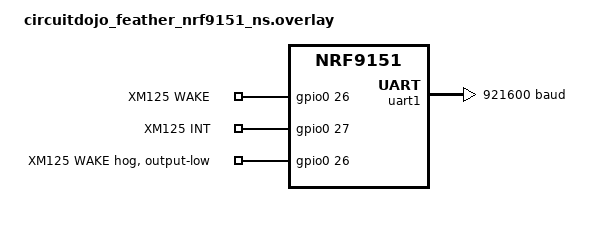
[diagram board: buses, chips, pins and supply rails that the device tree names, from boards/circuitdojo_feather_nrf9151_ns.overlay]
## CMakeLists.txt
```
cmake_minimum_required(VERSION 3.20.0)
find_package(Zephyr REQUIRED HINTS $ENV{ZEPHYR_BASE})
project(webhook_test)

# Generate hex files from pem files
set(gen_dir ${CMAKE_CURRENT_BINARY_DIR}/certs)
zephyr_include_directories(${gen_dir})

##DigiCert CA
# generate_inc_file_for_target(
#     app
#     cert/DigiCertGlobalG3.pem
#     ${gen_dir}/DigiCertGlobalG3.pem.inc
# )

# #Universal Global Root CA (too large for modem flash ~220KB)
# generate_inc_file_for_target(
#     app
#     cert/cacert.pem
#     ${gen_dir}/cacert.pem.inc
# )

# #Google GTS Root R1 (44KB)
# generate_inc_file_for_target(
#     app
#     cert/google_roots.pem
#     ${gen_dir}/google_roots.pem.inc
# )

#Leaf CA (5KB maybe small enough)
generate_inc_file_for_target(
    app
    cert/google_gts.pem
    ${gen_dir}/google_gts.pem.inc
)

target_sources(app PRIVATE
    src/main.c
    src/uart.c
    src/cellular.c
)
```

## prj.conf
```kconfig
# General
CONFIG_HEAP_MEM_POOL_SIZE=4096
CONFIG_MAIN_STACK_SIZE=4096
# Watchdog
CONFIG_WATCHDOG=y
CONFIG_WDT_NRFX=y
# Logging
CONFIG_LOG=y
# Network
CONFIG_NETWORKING=y
CONFIG_NET_SOCKETS=y
CONFIG_NET_SOCKETS_OFFLOAD=y
CONFIG_POSIX_API=y
CONFIG_NET_IPV4=y
CONFIG_NET_IPV6=y
CONFIG_NET_CONNECTION_MANAGER=y
CONFIG_NET_CONNECTION_MANAGER_MONITOR_STACK_SIZE=4600
# Modem
CONFIG_NRF_MODEM_LIB=y
CONFIG_NRF_MODEM_LIB_NET_IF=y
CONFIG_MODEM_KEY_MGMT=y
CONFIG_LTE_LINK_CONTROL=y
# DNS
CONFIG_DNS_RESOLVER=y
# Hostname
# CONFIG_HTTPS_HOSTNAME="webhook.site"

#NCS version issue
CONFIG_LTE_LC_PSM_MODULE=y
CONFIG_LTE_PSM_REQ=n
CONFIG_LTE_LC_EDRX_MODULE=y

# Floating point support for CBPRINTF, needed for logging the radar data
CONFIG_FPU=y
CONFIG_FPU_SHARING=y
CONFIG_CBPRINTF_FP_SUPPORT=y
#Debugging LTE connection failures, NCS version issue suspected
# CONFIG_NET_CONNECTION_MANAGER=y
# CONFIG_NET_CONNECTION_MANAGER_MONITOR_STACK_SIZE=4600

# Prevent reset cycle lockout
# CONFIG_LTE_LC_FUNC_MODE_MODULE=y

CONFIG_SERIAL=y
# CONFIG_UART_ASYNC_API=y
CONFIG_UART_INTERRUPT_DRIVEN=y
CONFIG_SNTP=y

# eDRX settings timer table index for LTE-M, 20.48s cycle — should be shorter than UPDATE_RATE_MS
# CONFIG_LTE_LC_EDRX_REQ_VALUE_LTE_M="2"

#Solar Panel/Battery Support
CONFIG_NPM13XX_CHARGER=y
CONFIG_SENSOR=y

#Zephyr power management - suspend peripherals for deep sleep
CONFIG_PM=y
CONFIG_PM_DEVICE=y
CONFIG_PM_DEVICE_RUNTIME=y
```

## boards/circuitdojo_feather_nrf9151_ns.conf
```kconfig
#
# Copyright (c) 2024 Nordic Semiconductor ASA
#
# SPDX-License-Identifier: LicenseRef-Nordic-5-Clause
#

# Heap and stacks
CONFIG_HEAP_MEM_POOL_SIZE=4096
CONFIG_MAIN_STACK_SIZE=4096
CONFIG_SYSTEM_WORKQUEUE_STACK_SIZE=4096

# LED control
CONFIG_DK_LIBRARY=n

# Disable Duplicate Address Detection (DAD)
# due to not being properly implemented for offloaded interfaces.
CONFIG_NET_IPV6_NBR_CACHE=n
CONFIG_NET_IPV6_MLD=n

# Connection Manager and Connectivity layer
CONFIG_NRF_MODEM_LIB_NET_IF=y

# AT Host
CONFIG_UART_INTERRUPT_DRIVEN=y
CONFIG_AT_HOST_LIBRARY=n

# Modem key management
CONFIG_MODEM_KEY_MGMT=y

# Disable modem trace on uart1 so we can use it for XM125
CONFIG_NRF_MODEM_LIB_TRACE=n
# Disable UART console for 0.5mA power savings
CONFIG_UART_CONSOLE=n
```

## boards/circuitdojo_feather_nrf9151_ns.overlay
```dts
&uart1 {
    status = "okay";
    current-speed = <921600>;
};

/ {
    aliases {
        wake-pin = &wake_pin;
        int-pin = &int_pin;
    };

    gpio_pins {
        compatible = "gpio-keys";

        wake_pin: wake_pin {
            gpios = <&gpio0 26 GPIO_ACTIVE_HIGH>;
            label = "XM125 WAKE";
        };

        int_pin: int_pin {
            gpios = <&gpio0 27 GPIO_ACTIVE_HIGH>;
            label = "XM125 INT";
        };
    };
};

&gpio0 {
    ngpios = <32>;
    wake-hog {
        gpio-hog;
        gpios = <26 GPIO_ACTIVE_HIGH>;
        output-low;
        line-name = "XM125 WAKE";
    };
};
```

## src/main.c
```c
#include "cellular.h"
#include "config.h"
#include "uart.h"
#include <modem/lte_lc.h>
#include <modem/nrf_modem_lib.h>
#include <zephyr/drivers/gpio.h>
#include <zephyr/kernel.h>
#include <zephyr/logging/log.h>
#include <zephyr/drivers/watchdog.h>
 #include <zephyr/pm/device.h>

#define WDT_NODE DT_ALIAS(watchdog0)
#define WDT_TIMEOUT_MS 300000U  // 5 minutes — longer than one full cycle
LOG_MODULE_REGISTER(main, LOG_LEVEL_INF);

static const struct device *wdt;
static int wdt_channel_id;

static int watchdog_init(void)
{
    wdt = DEVICE_DT_GET(WDT_NODE);
    if (!device_is_ready(wdt)) {
        LOG_ERR("Watchdog device not ready");
        return -ENODEV;
    }

    struct wdt_timeout_cfg wdt_config = {
        .flags = WDT_FLAG_RESET_SOC,
        .window.min = 0,
        .window.max = WDT_TIMEOUT_MS,
    };

    wdt_channel_id = wdt_install_timeout(wdt, &wdt_config);
    if (wdt_channel_id < 0) {
        LOG_ERR("Watchdog install timeout failed: %d", wdt_channel_id);
        return wdt_channel_id;
    }

    int err = wdt_setup(wdt, WDT_OPT_PAUSE_HALTED_BY_DBG);
    if (err) {
        LOG_ERR("Watchdog setup failed: %d", err);
        return err;
    }

    LOG_INF("Watchdog initialized (timeout: %d ms)", WDT_TIMEOUT_MS);
    return 0;
}



// ---------------------------------------------------------------------------
// WAKE GPIO — nRF9151 drives this pin to wake/sleep XM125
// Defined in devicetree overlay as wake_pin alias
// ---------------------------------------------------------------------------

static const struct gpio_dt_spec wake_pin = GPIO_DT_SPEC_GET(WAKE_PIN_NODE, gpios);

static int wake_pin_init(void)
{
    if (!gpio_is_ready_dt(&wake_pin)) {
        LOG_ERR("WAKE GPIO device not ready");
        return -ENODEV;
    }
    // Start deasserted — XM125 stays in hibernate until we're ready
    return gpio_pin_configure_dt(&wake_pin, GPIO_OUTPUT_INACTIVE);
}

static void wake_xm125(void)
{
    gpio_pin_set_dt(&wake_pin, 1);
    LOG_DBG("WAKE asserted");
}

static void sleep_xm125(void)
{
    gpio_pin_set_dt(&wake_pin, 0);
    LOG_DBG("WAKE deasserted — XM125 hibernating");
}

// ---------------------------------------------------------------------------
// Frame buffer
// ---------------------------------------------------------------------------

static radar_buf_t radar_buf;

// ---------------------------------------------------------------------------
// Main
// ---------------------------------------------------------------------------

int main(void)
{

    int err;

    LOG_INF("Flood sensor starting");

    // Graceful modem power-off — clears any prior reset loop state
    err = nrf_modem_lib_init();
    if (err) {
        LOG_ERR("nrf_modem_lib_init failed: %d", err);
        return err;
    }
    lte_lc_func_mode_set(LTE_LC_FUNC_MODE_POWER_OFF);
    k_sleep(K_MSEC(500));
    nrf_modem_lib_shutdown();
    k_sleep(K_MSEC(500));

    // Initialize WAKE GPIO — XM125 stays asleep until first cycle
    err = wake_pin_init();
    if (err) {
        LOG_ERR("wake_pin_init failed: %d", err);
        return err;
    }

    err = watchdog_init();
    if (err) {
        LOG_WRN("Watchdog init failed: %d — continuing without watchdog", err);
    }

    // Initialize UART RX ring buffer and INT GPIO interrupt
    err = uart_init();
    if (err) {
        LOG_ERR("uart_init failed: %d", err);
        return err;
    }

    // Initialize modem and provision TLS certificate
    err = cellular_init();
    if (err) {
        LOG_ERR("cellular_init failed: %d", err);
        return err;
    }

    // Connect to LTE-M and configure eDRX
    err = cellular_connect();
    if (err) {
        LOG_ERR("cellular_connect failed: %d", err);
        return err;
    }

    // Sync time via SNTP — must happen after LTE connect, retry 3 times
    for (int i = 0; i < 3; i++) {
        err = cellular_sntp_sync();
        if (err == 0) {
            break;
        }
        LOG_WRN("SNTP attempt %d/3 failed (%d), retrying in 5s...", i + 1, err);
        if (i < 2) {
            k_sleep(K_SECONDS(5));
        }
    }
    if (err) {
        LOG_ERR("SNTP sync failed after 3 attempts — timestamps will be invalid");
    }

    LOG_INF("Boot complete — entering main loop (update rate: %d ms)",
            UPDATE_RATE_MS);


    // Suspend onboard peripherals we don't use — reduces idle current
    const struct device *lis2dh = DEVICE_DT_GET(DT_NODELABEL(lis2dh));
    const struct device *sts4x  = DEVICE_DT_GET(DT_NODELABEL(sts4x));

    if (device_is_ready(lis2dh)) {
        pm_device_action_run(lis2dh, PM_DEVICE_ACTION_SUSPEND);
    }
    if (device_is_ready(sts4x)) {
        pm_device_action_run(sts4x, PM_DEVICE_ACTION_SUSPEND);
    }

    // ---------------------------------------------------------------------------
    // Main loop — nRF9151 paces the system
    // ---------------------------------------------------------------------------
    
    while (true) {

        // Kick watchdog — must happen at least every WDT_TIMEOUT_MS
        wdt_feed(wdt, wdt_channel_id);

        int64_t cycle_start_ms = k_uptime_get();

        // 1. Wake XM125
        wake_xm125();

        // 2. Wait for XM125 to assert INT (all frames in UART buffer)
        //    UART ring buffer fills passively while we wait
        err = uart_read_frames(&radar_buf);
        if (err) {
            LOG_ERR("uart_read_frames failed: %d", err);
            // Deassert WAKE so XM125 can hibernate even on error
            sleep_xm125();
            uart_buf_reset(&radar_buf);
            goto next_cycle;
        }

        // 3. Deassert WAKE — XM125 hibernates while we do LTE POST
        sleep_xm125();

        // 4. POST frames over LTE
        LOG_INF("Posting %d frames", radar_buf.count);
        err = cellular_post_frames(&radar_buf);
        if (err) {
            LOG_ERR("cellular_post_frames failed: %d", err);
        } else {
            LOG_INF("POST complete");
        }

        uart_buf_reset(&radar_buf);

next_cycle:
        // 5. Sleep for remainder of UPDATE_RATE_MS
        //    eDRX keeps modem registered during this sleep
        int64_t elapsed_ms = k_uptime_get() - cycle_start_ms;
        int64_t sleep_ms   = (int64_t)UPDATE_RATE_MS - elapsed_ms;

        if (sleep_ms > 0) {
            LOG_DBG("Sleeping %lld ms until next cycle", sleep_ms);
            k_sleep(K_MSEC(sleep_ms));
        } else {
            LOG_WRN("Cycle overran UPDATE_RATE_MS by %lld ms", -sleep_ms);
        }
    }

    return 0;
}
```

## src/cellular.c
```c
#include "cellular.h"
#include "config.h"
#include <modem/lte_lc.h>
#include <modem/modem_key_mgmt.h>
#include <modem/nrf_modem_lib.h>
#include <zephyr/net/sntp.h>
#include <nrf_modem_at.h>
#include <stdio.h>
#include <string.h>
#include <zephyr/kernel.h>
#include <zephyr/logging/log.h>
#include <zephyr/net/socket.h>
#include <zephyr/net/tls_credentials.h>
#include <zephyr/drivers/sensor.h>
#include <zephyr/drivers/sensor/npm13xx_charger.h>


LOG_MODULE_REGISTER(cellular, LOG_LEVEL_INF);

// ---------------------------------------------------------------------------
// Battery Charging
// ---------------------------------------------------------------------------

#define PMIC_NODE DT_NODELABEL(npm1300_charger)
static const struct device *charger = DEVICE_DT_GET(PMIC_NODE);

// Returns battery voltage in millivolts, or -1 on error
static int read_battery_mv(void)
{
    if (!device_is_ready(charger)) {
        LOG_WRN("PMIC charger not ready");
        return -1;
    }

    struct sensor_value voltage;
    if (sensor_sample_fetch(charger) < 0) {
        LOG_WRN("Failed to fetch PMIC sample");
        return -1;
    }

    if (sensor_channel_get(charger, SENSOR_CHAN_GAUGE_VOLTAGE, &voltage) < 0) {
        LOG_WRN("Failed to get battery voltage");
        return -1;
    }

    return (voltage.val1 * 1000) + (voltage.val2 / 1000);
}

// ---------------------------------------------------------------------------
// TLS certificate
// ---------------------------------------------------------------------------

static const char cert[] = {
#include "google_gts.pem.inc"
    IF_ENABLED(CONFIG_TLS_CREDENTIALS, (0x00))
};

// ---------------------------------------------------------------------------
// Static buffers — not stack allocated
// ---------------------------------------------------------------------------

static char recv_buf[RECV_BUF_SIZE];
static char body[POST_BODY_SIZE];
static char header[POST_HEADER_SIZE];

// ---------------------------------------------------------------------------
// LTE connection
// ---------------------------------------------------------------------------

static K_SEM_DEFINE(lte_connected_sem, 0, 1);

static void lte_event_handler(const struct lte_lc_evt *const evt)
{
    switch (evt->type) {
    case LTE_LC_EVT_NW_REG_STATUS:
        if (evt->nw_reg_status == LTE_LC_NW_REG_REGISTERED_HOME ||
            evt->nw_reg_status == LTE_LC_NW_REG_REGISTERED_ROAMING) {
            LOG_INF("LTE connected");
            k_sem_give(&lte_connected_sem);
        }
        break;

    case LTE_LC_EVT_EDRX_UPDATE:
        LOG_INF("eDRX active: cycle=%.2f s, PTW=%.2f s",
                (double)evt->edrx_cfg.edrx,
                (double)evt->edrx_cfg.ptw);
        break;

    case LTE_LC_EVT_PSM_UPDATE:
        // PSM not used at 1-minute update rate — log if granted anyway
        LOG_DBG("PSM update: TAU=%d active=%d",
                evt->psm_cfg.tau, evt->psm_cfg.active_time);
        break;

    default:
        break;
    }
}

// ---------------------------------------------------------------------------
// SNTP time anchor
// ---------------------------------------------------------------------------

static int64_t sntp_unix_time_ms  = -1; // Unix time at sync point
static int64_t uptime_at_sync_ms  = 0;  // k_uptime_get() at sync point

int cellular_sntp_sync(void)
{
    struct sntp_time sntp_time;

    LOG_INF("Syncing time via SNTP (%s)", SNTP_SERVER);

    k_sleep(K_SECONDS(3));

    int err = sntp_simple(SNTP_SERVER, SNTP_TIMEOUT_MS, &sntp_time);
    if (err != 0) {
        LOG_ERR("SNTP sync failed: %d", err);
        return err;
    }

    sntp_unix_time_ms = (int64_t)sntp_time.seconds * 1000LL;
    uptime_at_sync_ms = k_uptime_get();

    LOG_INF("SNTP sync OK: Unix time %lld ms", sntp_unix_time_ms);
    return 0;
}

int64_t cellular_get_unix_time_ms(void)
{
    if (sntp_unix_time_ms < 0) {
        LOG_WRN("SNTP not synced yet");
        return -1;
    }
    return sntp_unix_time_ms + (k_uptime_get() - uptime_at_sync_ms);
}

// ---------------------------------------------------------------------------
// Initialization — modem library + TLS certificate provisioning
// ---------------------------------------------------------------------------

int cellular_init(void)
{
    int err;
    bool exists;

    nrf_modem_lib_init();

    LOG_INF("Provisioning TLS certificate");

    err = modem_key_mgmt_exists(TLS_SEC_TAG, MODEM_KEY_MGMT_CRED_TYPE_CA_CHAIN,
                                &exists);
    if (err) {
        LOG_ERR("modem_key_mgmt_exists failed: %d", err);
        return err;
    }

    if (exists) {
        int mismatch = modem_key_mgmt_cmp(TLS_SEC_TAG,
                                          MODEM_KEY_MGMT_CRED_TYPE_CA_CHAIN,
                                          cert, sizeof(cert));
        if (!mismatch) {
            LOG_INF("Certificate match — skipping write");
            return 0;
        }
        LOG_INF("Certificate mismatch — updating");
        modem_key_mgmt_delete(TLS_SEC_TAG, MODEM_KEY_MGMT_CRED_TYPE_CA_CHAIN);
    }

    err = modem_key_mgmt_write(TLS_SEC_TAG, MODEM_KEY_MGMT_CRED_TYPE_CA_CHAIN,
                               cert, sizeof(cert));
    if (err) {
        LOG_ERR("Certificate write failed: %d", err);
        return err;
    }

    LOG_INF("Certificate provisioned");
    return 0;
}

// ---------------------------------------------------------------------------
// Connect — LTE-M with eDRX, fallback to light sleep
// ---------------------------------------------------------------------------

int cellular_connect(void)
{
    int err;

    LOG_INF("Connecting to LTE-M");

    // // Hologram SIM APN
    // nrf_modem_at_printf("AT+CGDCONT=1,\"IP\",\"hologram\"");
    // nrf_modem_at_printf("AT+COPS=0,2");
    
    //Trying AT&T Sim Cards
    nrf_modem_at_printf("AT+CGDCONT=1,\"IP\",\"broadband\"");
    nrf_modem_at_printf("AT+COPS=0");

    // Force T-Mobile if auto-select fails:
    // nrf_modem_at_printf("AT+COPS=1,2,\"310260\",7");

    k_sleep(K_SECONDS(5));

    lte_lc_register_handler(lte_event_handler);

    // Request eDRX — keeps modem registered, low wake latency for 1-min cycles
    // Falls back gracefully if carrier doesn't support it

// Request eDRX
    err = lte_lc_edrx_req(true);
    if (err) {
        LOG_WRN("eDRX request failed (%d) — falling back to light sleep", err);
    } else {
        // Request specific cycle: "0010" = 20.48s for LTE-M
        int at_err = nrf_modem_at_printf("AT+CEDRXS=2,4,\"0010\"");
        if (at_err) {
            LOG_WRN("eDRX cycle request failed (%d) — network will use default", at_err);
        } else {
            LOG_INF("eDRX 20.48s cycle requested");
        }
    }
    // PSM not requested — re-registration latency (~30-60s) would consume
    // most of the 1-minute update window. Re-enable if update rate > 5 min.
    // err = lte_lc_psm_req(true);

    err = lte_lc_connect_async(lte_event_handler);
    if (err) {
        LOG_ERR("lte_lc_connect_async failed: %d", err);
        return err;
    }

    err = k_sem_take(&lte_connected_sem, K_MSEC(LTE_CONNECT_TIMEOUT_MS));
    if (err) {
        LOG_ERR("LTE connection timeout after %d ms", LTE_CONNECT_TIMEOUT_MS);
        return -ETIMEDOUT;
    }

    return 0;
}

// ---------------------------------------------------------------------------
// TLS socket setup
// ---------------------------------------------------------------------------

static int tls_setup(int fd)
{
    int err;
    int verify = 2;
    const sec_tag_t tls_sec_tag[] = {TLS_SEC_TAG};

    err = setsockopt(fd, SOL_TLS, TLS_PEER_VERIFY, &verify, sizeof(verify));
    if (err) return err;

    err = setsockopt(fd, SOL_TLS, TLS_SEC_TAG_LIST, tls_sec_tag, sizeof(tls_sec_tag));
    if (err) return err;

    err = setsockopt(fd, SOL_TLS, TLS_HOSTNAME, WEBHOOK_HOST, sizeof(WEBHOOK_HOST) - 1);
    if (err) return err;

    // Enable TLS session caching for resumption on subsequent connections
    int session_cache = 1;
    err = setsockopt(fd, SOL_TLS, TLS_SESSION_CACHE, &session_cache, sizeof(session_cache));
    if (err) {
        LOG_WRN("TLS session cache enable failed: %d", err);
    }

    // Cap recv wait at 30 seconds — prevents indefinite hang if server is slow
    struct timeval timeout = {
        .tv_sec = 30,
        .tv_usec = 0
    };
    setsockopt(fd, SOL_SOCKET, SO_RCVTIMEO, &timeout, sizeof(timeout));

    return 0;
}

// ---------------------------------------------------------------------------
// POST frames
//
// JSON format (flat, one object per frame):
// {
//   "frames": [
//     {"datetime":1747123456789,"frame":1,"num_peaks":2,
//      "d1":1.234567,"s1":45.20,"d2":0.987654,"s2":38.10},
//     {"datetime":1747123457000,"frame":2,"num_peaks":0},
//     ...
//   ]
// }
//
// Google Sheet columns:
//   Timestamp | Datetime | Frame | Num Peaks |
//   Distance 1 | Strength 1 | Distance 2 | Strength 2 | Distance 3 | Strength 3
// ---------------------------------------------------------------------------

int cellular_post_frames(const radar_buf_t *buf)
{
    int err, fd, bytes;
    size_t off;
    struct addrinfo *res;
    struct addrinfo hints = {
        .ai_flags    = AI_NUMERICSERV,
        .ai_socktype = SOCK_STREAM,
    };
    char peer_addr[INET6_ADDRSTRLEN];
    int body_len = 0;
    int battery_mv = read_battery_mv();

    // Build JSON body

    body_len += snprintf(body, POST_BODY_SIZE,
    "{\"battery_mv\":%d,\"frames\":[", battery_mv);

    for (int i = 0; i < buf->count; i++) {
        const radar_frame_t *f = &buf->frames[i];

        body_len += snprintf(body + body_len, POST_BODY_SIZE - body_len,
                             "%s{\"datetime\":%lld,\"frame\":%d,\"num_peaks\":%d",
                             i > 0 ? "," : "",
                             f->timestamp_ms,
                             i + 1,
                             f->num_peaks);

        // Add peak fields — only include peaks that exist
        for (int p = 0; p < f->num_peaks && p < MAX_PEAKS_PER_FRAME; p++) {
            body_len += snprintf(body + body_len, POST_BODY_SIZE - body_len,
                                 ",\"d%d\":%.6f,\"s%d\":%.2f",
                                 p + 1, (double)f->peaks[p].distance_m,
                                 p + 1, (double)f->peaks[p].strength_db);
        }

        body_len += snprintf(body + body_len, POST_BODY_SIZE - body_len, "}");
    }

    body_len += snprintf(body + body_len, POST_BODY_SIZE - body_len, "]}");

    // Build HTTP header
    snprintf(header, POST_HEADER_SIZE,
             "POST /" WEBHOOK_UUID " HTTP/1.1\r\n"
             "Host: " WEBHOOK_HOST "\r\n"
             "Content-Type: application/json\r\n"
             "Content-Length: %d\r\n"
             "Connection: close\r\n\r\n",
             body_len);

    LOG_INF("Resolving %s", WEBHOOK_HOST);
    err = getaddrinfo(WEBHOOK_HOST, HTTPS_PORT, &hints, &res);
    if (err) {
        LOG_ERR("getaddrinfo failed: %d", err);
        return -EIO;
    }

    inet_ntop(res->ai_family,
              &((struct sockaddr_in *)(res->ai_addr))->sin_addr,
              peer_addr, INET6_ADDRSTRLEN);
    LOG_INF("Resolved %s", peer_addr);

    fd = socket(res->ai_family, SOCK_STREAM, IPPROTO_TLS_1_2);
    if (fd < 0) {
        LOG_ERR("socket() failed");
        freeaddrinfo(res);
        return -EIO;
    }

    err = tls_setup(fd);
    if (err) {
        LOG_ERR("tls_setup failed: %d", err);
        goto cleanup;
    }

    err = connect(fd, res->ai_addr, res->ai_addrlen);
    if (err) {
        LOG_ERR("connect() failed: %d", errno);
        goto cleanup;
    }

    // Check if TLS session was resumed or full handshake was performed
    int handshake_status = 0;
    socklen_t status_len = sizeof(handshake_status);
    getsockopt(fd, SOL_TLS, TLS_SESSION_CACHE, &handshake_status, &status_len);
    if (handshake_status == 1) {
        LOG_INF("TLS session resumed");
    } else {
        LOG_INF("TLS full handshake");
    }

    // Send header
    off = 0;
    size_t hlen = strlen(header);
    do {
        bytes = send(fd, header + off, hlen - off, 0);
        if (bytes < 0) { err = -EIO; goto cleanup; }
        off += bytes;
    } while (off < hlen);

    // Send body
    off = 0;
    do {
        bytes = send(fd, body + off, body_len - off, 0);
        if (bytes < 0) { err = -EIO; goto cleanup; }
        off += bytes;
    } while ((int)off < body_len);

    LOG_INF("Sent %d bytes total", (int)(hlen + body_len));

    // Receive response
    off = 0;
    do {
        bytes = recv(fd, recv_buf + off, RECV_BUF_SIZE - off - 1, 0);
        if (bytes < 0) { err = -EIO; goto cleanup; }
        off += bytes;
    } while (bytes != 0);

    recv_buf[off] = '\0';
    LOG_INF("Response: %.100s", recv_buf);
    err = 0;

cleanup:
    freeaddrinfo(res);
    close(fd);
    return err;
}
```

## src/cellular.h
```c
// #ifndef CELLULAR_H
// #define CELLULAR_H

// #include "radar.h"

// /* Initialize LTE and provision TLS certificate */
// int cellular_init(void);

// /* Connect to LTE-M network */
// int cellular_connect(void);

// /* Disconnect and power down modem */
// int cellular_disconnect(void);

// /* POST all frames in buffer to webhook */
// int cellular_post_frames(const radar_buf_t *buf);

// #endif /* CELLULAR_H */
// ^^^^^^^^^^^ OLD WORKING VERSION ^^^^^^^^^^^

#ifndef CELLULAR_H
#define CELLULAR_H

#include "uart.h"
#include <stdint.h>

// ---------------------------------------------------------------------------
// Init
// ---------------------------------------------------------------------------

// Initialize modem library and provision TLS certificate
// Must be called once at boot before cellular_connect()
int cellular_init(void);

// ---------------------------------------------------------------------------
// Connection
// ---------------------------------------------------------------------------

// Connect to LTE-M, configure eDRX (fallback to light sleep if unsupported)
// Blocks until connected or LTE_CONNECT_TIMEOUT_MS elapses
int cellular_connect(void);

// ---------------------------------------------------------------------------
// Time
// ---------------------------------------------------------------------------

// Sync time via SNTP — call once after cellular_connect() on every boot
// Stores Unix time anchor internally
int cellular_sntp_sync(void);

// Returns current Unix time in milliseconds, anchored to last SNTP sync
// Returns -1 if SNTP has not been synced yet
int64_t cellular_get_unix_time_ms(void);

// ---------------------------------------------------------------------------
// Data
// ---------------------------------------------------------------------------

// POST all frames in buf to Google Apps Script endpoint over HTTPS
int cellular_post_frames(const radar_buf_t *buf);

#endif /* CELLULAR_H */
```

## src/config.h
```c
#ifndef CONFIG_H
#define CONFIG_H

#include <zephyr/kernel.h>

// ---------------------------------------------------------------------------
// Timing
// ---------------------------------------------------------------------------

// How often the nRF9151 wakes the XM125 and collects a buffer of frames
// Default: 1 minute. Increase for lower power consumption.
#define UPDATE_RATE_MS          60000U

// ---------------------------------------------------------------------------
// Radar / UART
// ---------------------------------------------------------------------------

// Number of frames to collect per wake cycle before posting
// Must be a multiple of 7 (XM125 takes 7 measurements per wake)
#define FRAMES_PER_BUFFER       7U

// Maximum peaks reported per frame (matches Google Sheet fixed columns)
#define MAX_PEAKS_PER_FRAME     3U

// UART ring buffer size — must hold all frames before CPU wakes on INT
// Each frame is at most ~40 bytes ASCII (3 peaks worst case)
// 7 frames * 40 bytes = ~280 bytes — 512 gives comfortable margin
#define UART_RX_BUF_SIZE        512U

// UART timeout waiting for all frames after INT fires (ms)
#define UART_FRAME_TIMEOUT_MS   5000U

// ---------------------------------------------------------------------------
// GPIO pins
// ---------------------------------------------------------------------------

// WAKE pin — nRF9151 asserts high to wake XM125, deasserts after UART read
#define WAKE_PIN_NODE           DT_ALIAS(wake_pin)

// INT pin — XM125 asserts high when all frames are in UART buffer
#define INT_PIN_NODE            DT_ALIAS(int_pin)

// ---------------------------------------------------------------------------
// Cellular / POST
// ---------------------------------------------------------------------------

#define HTTPS_PORT              "443"
#define WEBHOOK_HOST            "script.google.com"
#define WEBHOOK_UUID            "macros/s/AKfycbwgBOoHvD2sKEsbWD8YyxhMu8Nycs5IzqO6mXfx4eeInN-su6hR5VLARMVwtdEtNbTTpg/exec"
#define TLS_SEC_TAG             42

// POST body buffer — static, power of 2
// Each frame ~130 bytes worst case flat JSON
// 4096 fits up to ~31 frames comfortably
#define POST_BODY_SIZE          4096U
#define POST_HEADER_SIZE        512U
#define RECV_BUF_SIZE           2048U


// LTE connection timeout (ms)
#define LTE_CONNECT_TIMEOUT_MS  180000U

// SNTP server
#define SNTP_SERVER             "time.cloudflare.com"
#define SNTP_TIMEOUT_MS         5000U
#define SNTP_RESYNC_INTERVAL_MS (24 * 60 * 60 * 1000U)  // 24 hours
// ---------------------------------------------------------------------------
// Compile-time guards
// ---------------------------------------------------------------------------

BUILD_ASSERT(FRAMES_PER_BUFFER % 7 == 0,
             "FRAMES_PER_BUFFER must be a multiple of 7");

BUILD_ASSERT(FRAMES_PER_BUFFER * 130 < POST_BODY_SIZE,
             "POST_BODY_SIZE too small for FRAMES_PER_BUFFER — increase POST_BODY_SIZE");

BUILD_ASSERT(FRAMES_PER_BUFFER * 40 < UART_RX_BUF_SIZE,
             "UART_RX_BUF_SIZE too small for FRAMES_PER_BUFFER — increase UART_RX_BUF_SIZE");

#endif /* CONFIG_H */
```

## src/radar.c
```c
// #include <zephyr/kernel.h>
// #include <zephyr/logging/log.h>
// #include "radar.h"

// LOG_MODULE_REGISTER(radar, LOG_LEVEL_INF);

// int radar_init(void)
// {
//     LOG_INF("Radar init (stub)");
//     return 0;
// }

// int radar_measure(radar_buf_t *buf)
// {
//     if (buf->count >= RADAR_FRAME_BUF_COUNT) {
//         return -ENOMEM;
//     }

//     radar_frame_t *f = &buf->frames[buf->write_idx];

//     /* Stub: generate dummy measurement */
//     f->timestamp_ms = k_uptime_get_32();
//     f->num_peaks = 2;
//     f->near_edge = false;
//     f->peaks[0].distance_m = 1.234f;
//     f->peaks[0].strength = 15.5f;
//     f->peaks[1].distance_m = 2.567f;
//     f->peaks[1].strength = 8.2f;
//     f->num_iq_points = 0; /* No IQ in stub */

//     buf->write_idx = (buf->write_idx + 1) % RADAR_FRAME_BUF_COUNT;
//     buf->count++;

//     LOG_INF("Stub measurement: dist=%.3f m",
//         (double)f->peaks[0].distance_m);
//     return 0;
// }

// bool radar_buf_full(const radar_buf_t *buf)
// {
//     return buf->count >= RADAR_FRAME_BUF_COUNT;
// }

// void radar_buf_reset(radar_buf_t *buf)
// {
//     buf->count = 0;
//     buf->write_idx = 0;
// }

// //OLD RADAR CODE, SWITCHING TO INTERRUPT-DRIVEN UART READING WITH PROPER JSON
// PARSING #include "radar.h" #include <stdlib.h> #include <string.h> #include
// <zephyr/drivers/uart.h> #include <zephyr/kernel.h> #include
// <zephyr/logging/log.h>

// LOG_MODULE_REGISTER(radar, LOG_LEVEL_INF);

// #define UART_DEVICE_NODE DT_NODELABEL(uart1)
// #define UART_BUF_SIZE 512
// #define UART_TIMEOUT_MS 2000

// static const struct device *uart_dev;
// static uint8_t uart_buf[UART_BUF_SIZE];
// static uint16_t uart_buf_pos;

// static int uart_read_line(char *out, size_t max_len, k_timeout_t timeout) {
//   int64_t deadline = k_uptime_get() + k_ticks_to_ms_floor64(timeout.ticks);
//   size_t pos = 0;

//   while (k_uptime_get() < deadline) {
//     uint8_t c;
//     if (uart_poll_in(uart_dev, &c) == 0) {
//       if (c == '\n') {
//         out[pos] = '\0';
//         return pos;
//       }
//       if (c != '\r' && pos < max_len - 1) {
//         out[pos++] = c;
//       }
//     } else {
//       k_sleep(K_MSEC(1));
//     }
//   }
//   return -ETIMEDOUT;
// }

// int radar_init(void) {
//   uart_dev = DEVICE_DT_GET(UART_DEVICE_NODE);
//   if (!device_is_ready(uart_dev)) {
//     LOG_ERR("UART device not ready");
//     return -ENODEV;
//   }

//   LOG_INF("Radar UART initialized at 921600 baud");
//   return 0;
// }

// /* Parse a JSON frame from XM125 output.
//  * Expected format (one line):
//  * {"n":2,"near_edge":0,"peaks":[{"d":1.2345,"s":15.20},...],"iq":[[...],...]}\n
//  */
// static int parse_frame(const char *line, radar_frame_t *frame) {
//   memset(frame, 0, sizeof(*frame));
//   frame->timestamp_ms = k_uptime_get_32();

//   /* Parse num_peaks */
//   const char *p = strstr(line, "\"n\":");
//   if (!p)
//     return -EINVAL;
//   frame->num_peaks = atoi(p + 4);
//   if (frame->num_peaks > RADAR_MAX_PEAKS) {
//     frame->num_peaks = RADAR_MAX_PEAKS;
//   }

//   /* Parse near_edge */
//   p = strstr(line, "\"near_edge\":");
//   if (p) {
//     frame->near_edge = atoi(p + 12) != 0;
//   }

//   /* Parse peaks */
//   p = strstr(line, "\"peaks\":[");
//   if (p) {
//     p += 9;
//     for (int i = 0; i < frame->num_peaks; i++) {
//       p = strstr(p, "\"d\":");
//       if (!p)
//         break;
//       frame->peaks[i].distance_m = strtof(p + 4, NULL);

//       p = strstr(p, "\"s\":");
//       if (!p)
//         break;
//       frame->peaks[i].strength = strtof(p + 4, NULL);
//     }
//   }

//   /* Parse IQ data - format: "iq":[[real,imag],...] */
//   p = strstr(line, "\"iq\":[");
//   if (p) {
//     p += 6;
//     int idx = 0;
//     while (idx < RADAR_MAX_IQ_POINTS && *p != ']' && *p != '\0') {
//       /* Skip to next '[' for each IQ pair */
//       p = strchr(p, '[');
//       if (!p)
//         break;
//       p++;
//       frame->iq_real[idx] = (int16_t)atoi(p);
//       p = strchr(p, ',');
//       if (!p)
//         break;
//       p++;
//       frame->iq_imag[idx] = (int16_t)atoi(p);
//       idx++;
//       /* Move past closing ']' of this pair */
//       p = strchr(p, ']');
//       if (!p)
//         break;
//       p++;
//     }
//     frame->num_iq_points = idx;
//   }

//   return 0;
// }

// int radar_measure(radar_buf_t *buf) {
//   if (buf->count >= RADAR_FRAME_BUF_COUNT) {
//     return -ENOMEM;
//   }

//   char line[1024];
//   int len = uart_read_line(line, sizeof(line), K_MSEC(UART_TIMEOUT_MS));
//   if (len < 0) {
//     LOG_WRN("UART timeout waiting for XM125 frame");
//     return len;
//   }
//   if (len == 0) {
//     return -EAGAIN;
//   }

//   LOG_DBG("Received line (%d bytes)", len);

//   radar_frame_t *frame = &buf->frames[buf->write_idx];
//   int err = parse_frame(line, frame);
//   if (err) {
//     LOG_WRN("Failed to parse frame: %d", err);
//     return err;
//   }

//   buf->write_idx = (buf->write_idx + 1) % RADAR_FRAME_BUF_COUNT;
//   buf->count++;

//   LOG_INF("Frame %d: %d peaks, first=%.4f m", buf->count, frame->num_peaks,
//           (double)frame->peaks[0].distance_m);

//   return 0;
// }

// bool radar_buf_full(const radar_buf_t *buf) {
//   return buf->count >= RADAR_FRAME_BUF_COUNT;
// }

// void radar_buf_reset(radar_buf_t *buf) {
//   buf->count = 0;
//   buf->write_idx = 0;
// }

#include "radar.h"
#include <stdlib.h>
#include <string.h>
#include <zephyr/drivers/uart.h>
#include <zephyr/kernel.h>
#include <zephyr/logging/log.h>


LOG_MODULE_REGISTER(radar, LOG_LEVEL_INF);

#define UART_DEVICE_NODE DT_NODELABEL(uart1)
#define UART_TIMEOUT_MS 15000 /* 15s timeout — longer than XM125 period */
#define LINE_BUF_SIZE 1024

static const struct device *uart_dev;

/* Double buffer — one being filled, one ready to read */
static char line_buf[LINE_BUF_SIZE];
static volatile size_t line_len;
static volatile bool line_ready;

static K_SEM_DEFINE(line_sem, 0, 1);

static void uart_cb(const struct device *dev, void *user_data) {
  ARG_UNUSED(user_data);

  if (!uart_irq_update(dev)) {
    return;
  }

  if (!uart_irq_rx_ready(dev)) {
    return;
  }

  uint8_t c;
  while (uart_fifo_read(dev, &c, 1) == 1) {
    if (c == '\n') {
      line_buf[line_len] = '\0';
      line_ready = true;
      k_sem_give(&line_sem);
    } else if (c != '\r' && line_len < LINE_BUF_SIZE - 1) {
      line_buf[line_len++] = c;
    }
  }
}

int radar_init(void) {
  uart_dev = DEVICE_DT_GET(UART_DEVICE_NODE);
  if (!device_is_ready(uart_dev)) {
    LOG_ERR("UART device not ready");
    return -ENODEV;
  }

  line_len = 0;
  line_ready = false;

  uart_irq_callback_set(uart_dev, uart_cb);
  uart_irq_rx_enable(uart_dev);

  LOG_INF("Radar UART initialized (interrupt-driven)");
  return 0;
}

static int parse_frame(const char *line, radar_frame_t *frame) {
  memset(frame, 0, sizeof(*frame));
  frame->timestamp_ms = k_uptime_get_32();

  const char *p = strstr(line, "\"n\":");
  if (!p)
    return -EINVAL;
  frame->num_peaks = atoi(p + 4);
  if (frame->num_peaks > RADAR_MAX_PEAKS) {
    frame->num_peaks = RADAR_MAX_PEAKS;
  }

  p = strstr(line, "\"edge\":");
  if (p) {
    frame->near_edge = atoi(p + 7) != 0;
  }

  p = strstr(line, "\"peaks\":[");
  if (p) {
    p += 9;
    for (int i = 0; i < frame->num_peaks; i++) {
      p = strstr(p, "\"d\":");
      if (!p)
        break;
      frame->peaks[i].distance_m = strtof(p + 4, NULL);
      p = strstr(p, "\"s\":");
      if (!p)
        break;
      frame->peaks[i].strength = strtof(p + 4, NULL);
    }
  }

  p = strstr(line, "\"iq\":[");
  if (p) {
    p += 6;
    int idx = 0;
    while (idx < RADAR_MAX_IQ_POINTS && *p != ']' && *p != '\0') {
      p = strchr(p, '[');
      if (!p)
        break;
      p++;
      frame->iq_real[idx] = (int16_t)atoi(p);
      p = strchr(p, ',');
      if (!p)
        break;
      p++;
      frame->iq_imag[idx] = (int16_t)atoi(p);
      idx++;
      p = strchr(p, ']');
      if (!p)
        break;
      p++;
    }
    frame->num_iq_points = idx;
  }

  return 0;
}

int radar_measure(radar_buf_t *buf) {
  if (buf->count >= RADAR_FRAME_BUF_COUNT) {
    return -ENOMEM;
  }

  /* Reset for next line */
  line_len = 0;
  line_ready = false;

  /* Sleep until XM125 sends a line or timeout */
  int err = k_sem_take(&line_sem, K_MSEC(UART_TIMEOUT_MS));
  if (err) {
    LOG_WRN("UART timeout waiting for XM125 frame");
    return -ETIMEDOUT;
  }

  radar_frame_t *frame = &buf->frames[buf->write_idx];
  err = parse_frame(line_buf, frame);
  if (err) {
    LOG_WRN("Failed to parse frame: %d", err);
    return err;
  }

  buf->write_idx = (buf->write_idx + 1) % RADAR_FRAME_BUF_COUNT;
  buf->count++;

  LOG_INF("Frame %d: %d peaks, first=%.4f m", buf->count, frame->num_peaks,
          (double)frame->peaks[0].distance_m);

  return 0;
}

bool radar_buf_full(const radar_buf_t *buf) {
  return buf->count >= RADAR_FRAME_BUF_COUNT;
}

void radar_buf_reset(radar_buf_t *buf) {
  buf->count = 0;
  buf->write_idx = 0;
}
```

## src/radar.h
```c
#ifndef RADAR_H
#define RADAR_H

#include <stdint.h>
#include <stdbool.h>

/* Maximum peaks per frame */
#define RADAR_MAX_PEAKS     5
/* Maximum IQ points per frame */
#define RADAR_MAX_IQ_POINTS 256
/* Number of frames to buffer before sending */
#define RADAR_FRAME_BUF_COUNT 7

/* Single radar peak */
typedef struct {
    float distance_m;
    float strength;
} radar_peak_t;

/* Single radar frame — peaks + raw IQ */
typedef struct {
    uint8_t     num_peaks;
    bool        near_edge;
    radar_peak_t peaks[RADAR_MAX_PEAKS];
    uint16_t    num_iq_points;
    int16_t     iq_real[RADAR_MAX_IQ_POINTS];
    int16_t     iq_imag[RADAR_MAX_IQ_POINTS];
    uint32_t    timestamp_ms;
} radar_frame_t;

/* Ring buffer of frames */
typedef struct {
    radar_frame_t frames[RADAR_FRAME_BUF_COUNT];
    uint8_t       count;
    uint8_t       write_idx;
} radar_buf_t;

/* Initialize UART and frame buffer */
int radar_init(void);

/* Trigger one XM125 measurement and store in buffer */
int radar_measure(radar_buf_t *buf);

/* Check if buffer is full (7 frames) */
bool radar_buf_full(const radar_buf_t *buf);

/* Reset buffer after sending */
void radar_buf_reset(radar_buf_t *buf);

#endif /* RADAR_H */
```

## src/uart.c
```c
#include "uart.h"
#include "cellular.h"
#include <stdlib.h>
#include <string.h>
#include <zephyr/drivers/gpio.h>
#include <zephyr/drivers/uart.h>
#include <zephyr/kernel.h>
#include <zephyr/logging/log.h>

LOG_MODULE_REGISTER(uart, LOG_LEVEL_INF);

// ---------------------------------------------------------------------------
// Device bindings
// ---------------------------------------------------------------------------

#define UART_DEVICE_NODE DT_NODELABEL(uart1)

static const struct device *uart_dev;
static const struct gpio_dt_spec int_pin = GPIO_DT_SPEC_GET(INT_PIN_NODE, gpios);

// ---------------------------------------------------------------------------
// Ring buffer
// Filled by UART RX interrupt while CPU sleeps in eDRX idle
// Drained by uart_read_frames() after INT fires
// ---------------------------------------------------------------------------

static uint8_t  rx_ring_buf[UART_RX_BUF_SIZE];
static uint32_t rx_head; // written by ISR
static uint32_t rx_tail; // read by uart_read_frames()

// INT pin interrupt semaphore — given when XM125 asserts INT
static K_SEM_DEFINE(int_sem, 0, 1);

// ---------------------------------------------------------------------------
// INT pin GPIO interrupt handler
// XM125 asserts INT when all FRAMES_PER_BUFFER frames are in UART TX buffer
// ---------------------------------------------------------------------------

static struct gpio_callback int_cb_data;

static void int_pin_handler(const struct device *dev, struct gpio_callback *cb,
                            uint32_t pins)
{
    ARG_UNUSED(dev);
    ARG_UNUSED(cb);
    ARG_UNUSED(pins);
    k_sem_give(&int_sem);
}

// ---------------------------------------------------------------------------
// UART RX interrupt handler
// Runs while CPU is in eDRX idle — no semaphores, just ring buffer fill
// ---------------------------------------------------------------------------

static void uart_irq_handler(const struct device *dev, void *user_data)
{
    ARG_UNUSED(user_data);

    if (!uart_irq_update(dev)) {
        return;
    }

    if (!uart_irq_rx_ready(dev)) {
        return;
    }

    uint8_t c;
    while (uart_fifo_read(dev, &c, 1) == 1) {
        uint32_t next_head = (rx_head + 1) % UART_RX_BUF_SIZE;
        if (next_head != rx_tail) {
            // Buffer not full — store byte
            rx_ring_buf[rx_head] = c;
            rx_head = next_head;
        } else {
            // Buffer overflow — drop byte, log will fire on next CPU wake
            LOG_WRN("UART ring buffer overflow");
        }
    }
}

// ---------------------------------------------------------------------------
// Initialization
// ---------------------------------------------------------------------------

int uart_init(void)
{
    int err;

    // UART
    uart_dev = DEVICE_DT_GET(UART_DEVICE_NODE);
    if (!device_is_ready(uart_dev)) {
        LOG_ERR("UART device not ready");
        return -ENODEV;
    }

    rx_head = 0;
    rx_tail = 0;

    uart_irq_callback_set(uart_dev, uart_irq_handler);
    uart_irq_rx_enable(uart_dev);

    // INT pin — input, interrupt on rising edge (XM125 asserts high)
    if (!gpio_is_ready_dt(&int_pin)) {
        LOG_ERR("INT GPIO device not ready");
        return -ENODEV;
    }

    err = gpio_pin_configure_dt(&int_pin, GPIO_INPUT);
    if (err) {
        LOG_ERR("INT pin configure failed: %d", err);
        return err;
    }

    err = gpio_pin_interrupt_configure_dt(&int_pin, GPIO_INT_EDGE_RISING);
    if (err) {
        LOG_ERR("INT pin interrupt configure failed: %d", err);
        return err;
    }

    gpio_init_callback(&int_cb_data, int_pin_handler, BIT(int_pin.pin));
    gpio_add_callback(int_pin.port, &int_cb_data);

    LOG_INF("UART and INT pin initialized");
    return 0;
}

// ---------------------------------------------------------------------------
// Ring buffer helpers
// ---------------------------------------------------------------------------

static bool ring_buf_empty(void)
{
    return rx_head == rx_tail;
}

static int ring_buf_get_byte(uint8_t *c)
{
    if (ring_buf_empty()) {
        return -1;
    }
    *c = rx_ring_buf[rx_tail];
    rx_tail = (rx_tail + 1) % UART_RX_BUF_SIZE;
    return 0;
}

// ---------------------------------------------------------------------------
// Frame line parser
//
// Parses one UART line into a radar_frame_t.
//
// Input formats:
//   "0"                          — no detection
//   "d1,s1"                      — 1 peak
//   "d1,s1 d2,s2"                — 2 peaks
//   "d1,s1 d2,s2 d3,s3"          — 3 peaks
// ---------------------------------------------------------------------------

static int parse_frame_line(const char *line, radar_frame_t *frame)
{
    memset(frame, 0, sizeof(*frame));

    // No detection
    if (line[0] == '0' && (line[1] == '\0' || line[1] == '\r')) {
        frame->num_peaks = 0;
        return 0;
    }

    const char *p = line;
    uint8_t peak_idx = 0;

    while (*p != '\0' && peak_idx < MAX_PEAKS_PER_FRAME) {
        char *end;

        // Parse distance
        float distance = strtof(p, &end);
        if (end == p || *end != ',') {
            // Not a valid distance,strength pair
            break;
        }
        p = end + 1; // skip comma

        // Parse strength
        float strength = strtof(p, &end);
        if (end == p) {
            break;
        }

        frame->peaks[peak_idx].distance_m  = distance;
        frame->peaks[peak_idx].strength_db = strength;
        peak_idx++;

        p = end;

        // Skip space separator between peaks
        if (*p == ' ') {
            p++;
        }
    }

    frame->num_peaks = peak_idx;
    return 0;
}

// ---------------------------------------------------------------------------
// Read and parse FRAMES_PER_BUFFER frames from ring buffer
//
// Blocks waiting for INT pin semaphore first, then drains ring buffer.
// Timestamps each frame using SNTP-anchored Unix time from cellular.c.
// ---------------------------------------------------------------------------

int uart_read_frames(radar_buf_t *buf)
{
    uart_buf_reset(buf);

    // Wait for XM125 to assert INT — all frames now in ring buffer
    int err = k_sem_take(&int_sem, K_MSEC(UART_FRAME_TIMEOUT_MS));
    if (err) {
        LOG_ERR("Timeout waiting for XM125 INT signal");
        return -ETIMEDOUT;
    }

    LOG_INF("INT received, reading %d frames from ring buffer", FRAMES_PER_BUFFER);

    // Drain ring buffer line by line
    char line[64];
    uint8_t line_pos = 0;
    uint8_t frames_parsed = 0;

    while (frames_parsed < FRAMES_PER_BUFFER) {
        uint8_t c;

        if (ring_buf_get_byte(&c) < 0) {
            // Ring buffer exhausted before we got all frames
            LOG_WRN("Ring buffer exhausted after %d frames", frames_parsed);
            break;
        }

        if (c == '\n') {
            line[line_pos] = '\0';
            line_pos = 0;

            if (strlen(line) == 0) {
                continue; // skip empty lines
            }

            radar_frame_t *frame = &buf->frames[frames_parsed];
            err = parse_frame_line(line, frame);
            if (err) {
                LOG_WRN("Failed to parse frame line: %s", line);
                continue;
            }

            // Timestamp with SNTP-anchored Unix time
            frame->timestamp_ms = cellular_get_unix_time_ms();

            LOG_INF("Frame %d: %d peaks", frames_parsed + 1, frame->num_peaks);
            frames_parsed++;
            buf->count = frames_parsed;

        } else if (c != '\r' && line_pos < sizeof(line) - 1) {
            line[line_pos++] = c;
        }
    }

    if (frames_parsed < FRAMES_PER_BUFFER) {
        LOG_WRN("Only parsed %d/%d frames", frames_parsed, FRAMES_PER_BUFFER);
    }

    return (frames_parsed > 0) ? 0 : -EIO;
}

// ---------------------------------------------------------------------------
// Reset buffer
// ---------------------------------------------------------------------------

void uart_buf_reset(radar_buf_t *buf)
{
    memset(buf, 0, sizeof(*buf));
}
```

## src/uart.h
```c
#ifndef UART_H
#define UART_H

#include "config.h"
#include <stdbool.h>
#include <stdint.h>

// ---------------------------------------------------------------------------
// Data structures
// ---------------------------------------------------------------------------

// Single radar peak
typedef struct {
    float distance_m;
    float strength_db;
} radar_peak_t;

// Single parsed radar frame
// A frame with num_peaks == 0 is a valid no-detection frame (XM125 sent "0\n")
typedef struct {
    uint8_t      num_peaks;
    radar_peak_t peaks[MAX_PEAKS_PER_FRAME];
    int64_t      timestamp_ms; // Unix time ms, set by nRF9151 after SNTP sync
} radar_frame_t;

// Buffer of frames collected per wake cycle
typedef struct {
    radar_frame_t frames[FRAMES_PER_BUFFER];
    uint8_t       count;
} radar_buf_t;

// ---------------------------------------------------------------------------
// Functions
// ---------------------------------------------------------------------------

// Initialize UART RX with DMA ring buffer and INT GPIO interrupt
int uart_init(void);

// Read and parse FRAMES_PER_BUFFER lines from ring buffer into buf
// Blocks until all frames received or UART_FRAME_TIMEOUT_MS elapses
// Timestamps each frame using current SNTP-anchored Unix time
int uart_read_frames(radar_buf_t *buf);

// Reset frame buffer
void uart_buf_reset(radar_buf_t *buf);

#endif /* UART_H */
```
